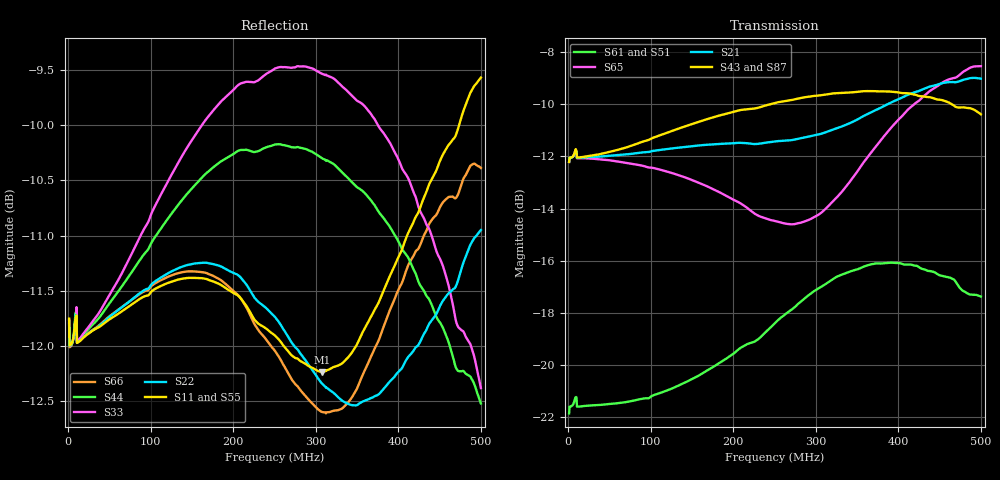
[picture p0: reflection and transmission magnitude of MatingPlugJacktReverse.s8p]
!Agilent Technologies,M9370A,MY54322275,A.02.50.04
!Agilent M9370A: A.02.50.04
!Date: Friday, April 06, 2018 13:59:06
!Correction: S11(Full 8 Port(1,2,3,4,5,6,7,8))
!S12(Full 8 Port(1,2,3,4,5,6,7,8))
!S13(Full 8 Port(1,2,3,4,5,6,7,8))
!S14(Full 8 Port(1,2,3,4,5,6,7,8))
!S15(Full 8 Port(1,2,3,4,5,6,7,8))
!S16(Full 8 Port(1,2,3,4,5,6,7,8))
!S17(Full 8 Port(1,2,3,4,5,6,7,8))
!S18(Full 8 Port(1,2,3,4,5,6,7,8))
!S21(Full 8 Port(1,2,3,4,5,6,7,8))
!S22(Full 8 Port(1,2,3,4,5,6,7,8))
!S23(Full 8 Port(1,2,3,4,5,6,7,8))
!S24(Full 8 Port(1,2,3,4,5,6,7,8))
!S25(Full 8 Port(1,2,3,4,5,6,7,8))
!S26(Full 8 Port(1,2,3,4,5,6,7,8))
!S27(Full 8 Port(1,2,3,4,5,6,7,8))
!S28(Full 8 Port(1,2,3,4,5,6,7,8))
!S31(Full 8 Port(1,2,3,4,5,6,7,8))
!S32(Full 8 Port(1,2,3,4,5,6,7,8))
!S33(Full 8 Port(1,2,3,4,5,6,7,8))
!S34(Full 8 Port(1,2,3,4,5,6,7,8))
!S35(Full 8 Port(1,2,3,4,5,6,7,8))
!S36(Full 8 Port(1,2,3,4,5,6,7,8))
!S37(Full 8 Port(1,2,3,4,5,6,7,8))
!S38(Full 8 Port(1,2,3,4,5,6,7,8))
!S41(Full 8 Port(1,2,3,4,5,6,7,8))
!S42(Full 8 Port(1,2,3,4,5,6,7,8))
!S43(Full 8 Port(1,2,3,4,5,6,7,8))
!S44(Full 8 Port(1,2,3,4,5,6,7,8))
!S45(Full 8 Port(1,2,3,4,5,6,7,8))
!S46(Full 8 Port(1,2,3,4,5,6,7,8))
!S47(Full 8 Port(1,2,3,4,5,6,7,8))
!S48(Full 8 Port(1,2,3,4,5,6,7,8))
!S51(Full 8 Port(1,2,3,4,5,6,7,8))
!S52(Full 8 Port(1,2,3,4,5,6,7,8))
!S53(Full 8 Port(1,2,3,4,5,6,7,8))
!S54(Full 8 Port(1,2,3,4,5,6,7,8))
!S55(Full 8 Port(1,2,3,4,5,6,7,8))
!S56(Full 8 Port(1,2,3,4,5,6,7,8))
!S57(Full 8 Port(1,2,3,4,5,6,7,8))
!S58(Full 8 Port(1,2,3,4,5,6,7,8))
!S61(Full 8 Port(1,2,3,4,5,6,7,8))
!S62(Full 8 Port(1,2,3,4,5,6,7,8))
!S63(Full 8 Port(1,2,3,4,5,6,7,8))
!S64(Full 8 Port(1,2,3,4,5,6,7,8))
!S65(Full 8 Port(1,2,3,4,5,6,7,8))
!S66(Full 8 Port(1,2,3,4,5,6,7,8))
!S67(Full 8 Port(1,2,3,4,5,6,7,8))
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# Hz S  RI  R 50
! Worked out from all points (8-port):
!   1000 points, 1 MHz to 500 MHz, reference 50 ohm
!   strongest paths, dB at 1 MHz, 125.9 MHz, 250.7 MHz, 375.6 MHz, 500 MHz:
!     S43: -12.2, -11.0, -9.9, -9.5, -10.4
!     S87: -12.2, -11.0, -10.0, -9.5, -10.6
!     S21: -12.2, -11.7, -11.4, -10.2, -9.0
!     S65: -12.2, -12.6, -14.5, -11.5, -8.5
!     S61: -21.9, -20.9, -18.4, -16.1, -17.4
!     S51: -21.8, -20.9, -18.4, -16.1, -17.2
!   lowest |S11| = -12.2 dB at 307.2 MHz (marker M1), VSWR 1.65, Z = 82.2 + j2.65 ohm
!   |S11| at or under -10 dB: start of sweep to 473.5 MHz
